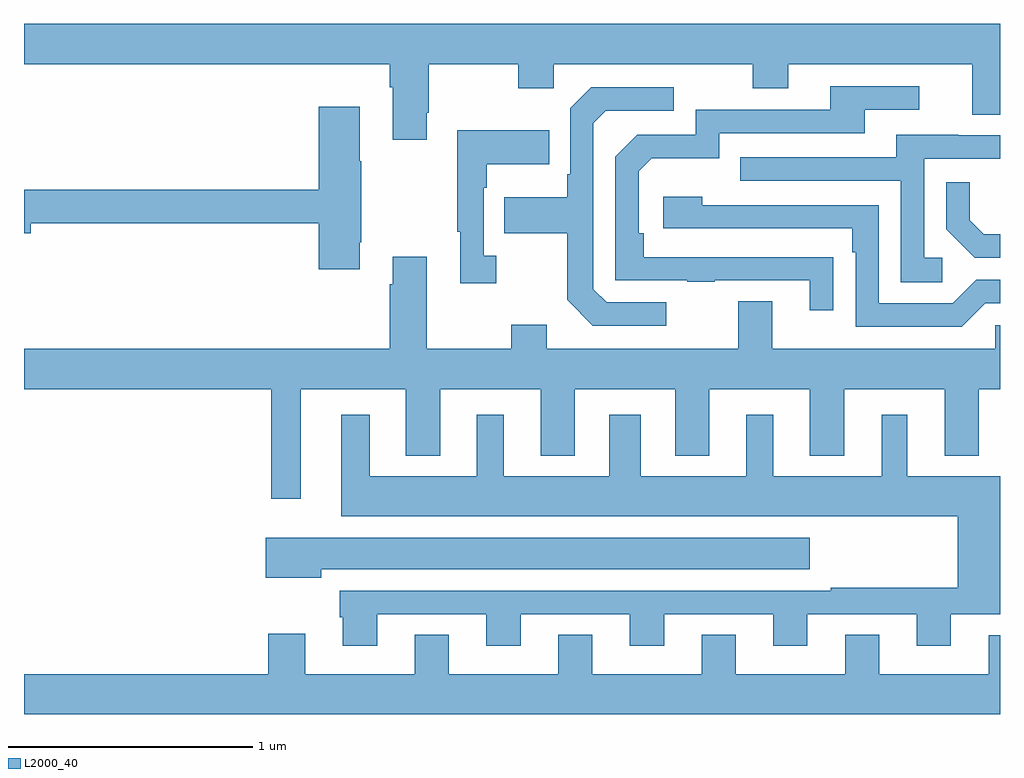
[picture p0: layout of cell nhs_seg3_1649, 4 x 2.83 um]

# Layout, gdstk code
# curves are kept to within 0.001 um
import gdstk
lib = gdstk.Library(unit=1e-6, precision=1e-09)
def P(c, l, *ps):  # polygons
    for p in ps: c.add(gdstk.Polygon(p, *l))
L2000_40 = (2000, 40)

nhs_seg3_1649 = lib.new_cell('nhs_seg3_1649')
P(nhs_seg3_1649, L2000_40, [(195,747.536),(196.499,747.536),(196.499,747.44),(196.511,747.44),(196.511,747.225),(196.651,747.225),(196.651,747.337),(196.659,747.337),(196.659,747.536),(197.026,747.536),(197.026,747.437),(197.172,747.437),(197.172,747.536),(197.986,747.536),(197.986,747.437),(198.133,747.437),(198.133,747.536),(198.887,747.536),(198.887,747.328),(199,747.328),(199,747.7),(195,747.7)],
  [(198.317,746.744),(197.54,746.745),(197.54,746.842),(197.52,746.842),(197.52,747.096),(197.573,747.149),(197.85,747.149),(197.85,747.252),(198.445,747.252),(198.445,747.348),(198.67,747.348),(198.67,747.444),(198.305,747.444),(198.305,747.348),(197.754,747.348),(197.754,747.246),(197.514,747.246),(197.424,747.156),(197.424,746.649),(197.719,746.649),(197.719,746.644),(197.831,746.644),(197.831,746.649),(198.221,746.649),(198.221,746.526),(198.317,746.526)],
  [(197.632,746.559),(197.388,746.559),(197.334,746.613),(197.334,747.294),(197.385,747.345),(197.662,747.345),(197.662,747.441),(197.325,747.441),(197.238,747.354),(197.238,747.085),(197.226,747.085),(197.226,746.989),(196.969,746.989),(196.969,746.842),(197.226,746.842),(197.226,746.569),(197.331,746.463),(197.632,746.463)],
  [(196.375,746.806),(196.383,746.806),(196.383,747.137),(196.375,747.137),(196.375,747.361),(196.208,747.361),(196.208,747.02),(195,747.02),(195,746.842),(195.028,746.842),(195.028,746.884),(196.208,746.884),(196.208,746.694),(196.375,746.694)],
  [(196.936,746.75),(196.884,746.75),(196.884,747.029),(196.897,747.029),(196.897,747.125),(197.153,747.125),(197.153,747.265),(196.776,747.265),(196.776,746.849),(196.787,746.849),(196.787,746.637),(196.936,746.637)],
  [(198.763,746.742),(198.69,746.742),(198.69,747.147),(199,747.147),(199,747.243),(198.829,747.243),(198.829,747.247),(198.575,747.247),(198.575,747.153),(197.935,747.153),(197.935,747.057),(198.594,747.057),(198.594,746.641),(198.763,746.641)],
  [(199,746.838),(198.934,746.838),(198.877,746.895),(198.877,747.052),(198.78,747.052),(198.78,746.858),(198.896,746.742),(199,746.742)],
  [(198.939,746.556),(199,746.556),(199,746.652),(198.903,746.652),(198.807,746.556),(198.504,746.556),(198.504,746.958),(197.78,746.958),(197.78,746.992),(197.619,746.992),(197.619,746.862),(198.395,746.862),(198.395,746.765),(198.408,746.765),(198.408,746.46),(198.843,746.46)],
  [(198.067,746.563),(197.927,746.563),(197.927,746.368),(197.143,746.368),(197.143,746.467),(196.996,746.467),(196.996,746.368),(196.651,746.368),(196.651,746.746),(196.511,746.746),(196.511,746.633),(196.499,746.633),(196.499,746.368),(195,746.368),(195,746.204),(196.014,746.204),(196.014,745.755),(196.135,745.755),(196.135,746.204),(196.565,746.204),(196.565,745.931),(196.705,745.931),(196.705,746.204),(197.117,746.204),(197.117,745.931),(197.257,745.931),(197.257,746.204),(197.669,746.204),(197.669,745.931),(197.809,745.931),(197.809,746.204),(198.221,746.204),(198.221,745.931),(198.361,745.931),(198.361,746.204),(198.773,746.204),(198.773,745.931),(198.913,745.931),(198.913,746.204),(199,746.204),(199,746.466),(198.981,746.466),(198.981,746.368),(198.067,746.368)],
  [(196.447,745.281),(196.895,745.281),(196.895,745.152),(197.035,745.152),(197.035,745.281),(197.483,745.281),(197.483,745.152),(197.623,745.152),(197.623,745.281),(198.071,745.281),(198.071,745.152),(198.211,745.152),(198.211,745.281),(198.659,745.281),(198.659,745.152),(198.799,745.152),(198.799,745.28),(199,745.28),(199,745.846),(198.619,745.846),(198.619,746.098),(198.515,746.098),(198.515,745.846),(198.07,745.846),(198.07,746.098),(197.96,746.098),(197.96,745.846),(197.527,745.846),(197.527,746.098),(197.399,746.098),(197.399,745.846),(196.966,745.846),(196.966,746.098),(196.856,746.098),(196.856,745.846),(196.417,745.846),(196.417,746.098),(196.301,746.098),(196.301,745.682),(198.827,745.682),(198.827,745.39),(198.307,745.39),(198.307,745.377),(196.295,745.377),(196.295,745.269),(196.307,745.269),(196.307,745.152),(196.447,745.152)],
  [(196.219,745.466),(198.22,745.466),(198.22,745.594),(195.99,745.594),(195.99,745.43),(196.219,745.43)],
  [(199,745.195),(198.953,745.195),(198.953,745.036),(198.505,745.036),(198.505,745.196),(198.365,745.196),(198.365,745.036),(197.917,745.036),(197.917,745.196),(197.777,745.196),(197.777,745.036),(197.329,745.036),(197.329,745.196),(197.189,745.196),(197.189,745.036),(196.741,745.036),(196.741,745.196),(196.601,745.196),(196.601,745.036),(196.153,745.036),(196.153,745.201),(196.001,745.201),(196.001,745.036),(195,745.036),(195,744.872),(199,744.872)])

lib.write_gds('nhs_seg3_1649.gds')
